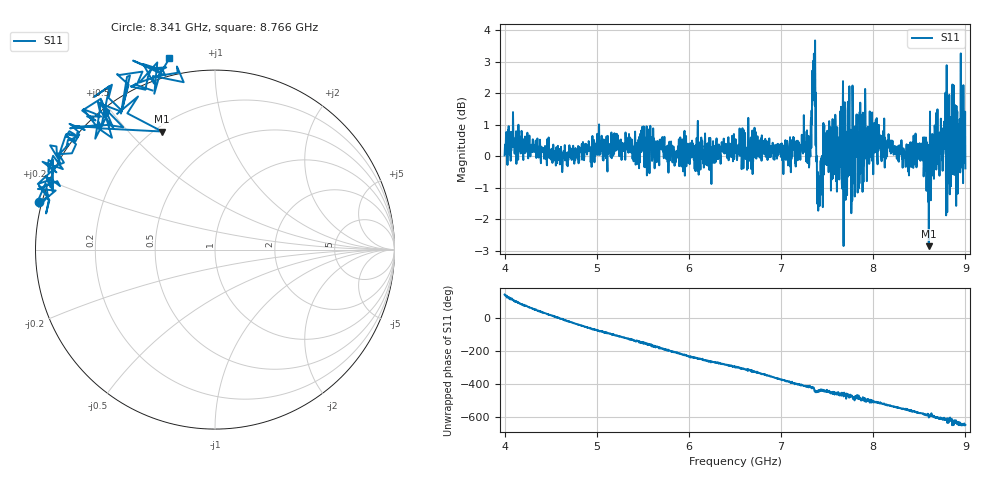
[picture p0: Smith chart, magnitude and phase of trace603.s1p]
! Created with skrf 1.8.0 (http://scikit-rf.org).
# Hz S RI R 50.0
!freq ReS11 ImS11
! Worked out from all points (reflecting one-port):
!   1601 points, 4 GHz to 9 GHz, reference 50 ohm
!   lowest |S11| = -2.8 dB at 8.603 GHz (marker M1), VSWR 6.16, Z = 11.4 + j31.2 ohm
!   phase of S11 starts at 144 deg and turns -796 deg over the sweep
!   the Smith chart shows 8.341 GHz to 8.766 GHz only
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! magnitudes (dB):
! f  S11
! 4 GHz  0.0
! 4.1 GHz  0.6
! 4.625 GHz  -0.5
! 5.25 GHz  0.1
! 5.875 GHz  0.0
! 6.5 GHz  0.1
! 7.125 GHz  0.4
! 7.294 GHz  0.1
! 7.309 GHz  0.5
! 7.353 GHz  2.2
! 7.362 GHz  3.1
! 7.4 GHz  -0.5
! 7.409 GHz  -1.4
! 7.512 GHz  0.8
! 7.616 GHz  -0.4
! 7.716 GHz  -1.2
! 7.75 GHz  0.0
! 7.775 GHz  2.2
! 7.8 GHz  -1.3
! 8.012 GHz  1.1
! 8.375 GHz  -0.2
! 8.55 GHz  -0.3
! 8.603 GHz  -2.8
! 8.656 GHz  0.7
! 8.788 GHz  -0.5
! 8.828 GHz  -0.3
! 8.953 GHz  -0.4
! 9 GHz  -0.4
